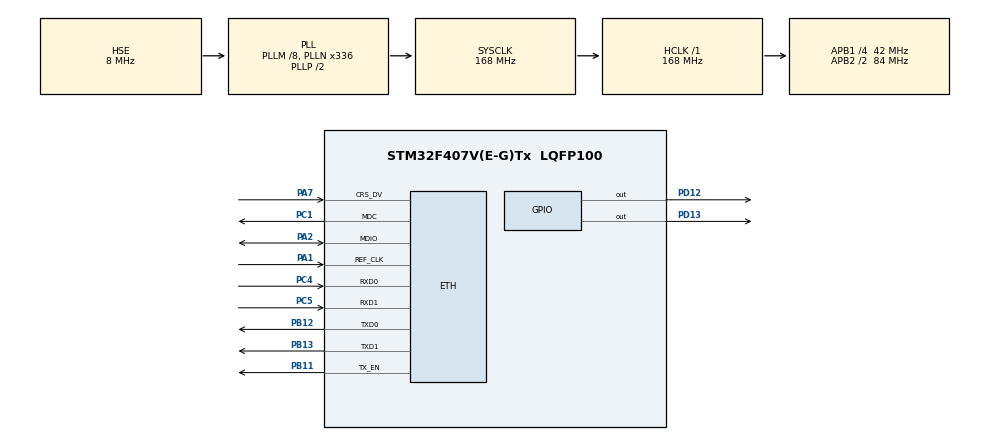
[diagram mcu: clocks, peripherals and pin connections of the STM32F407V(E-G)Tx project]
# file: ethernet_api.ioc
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ETH.MACAddr=00\:80\:E1\:DF\:B0\:C2
ETH.MediaInterface=HAL_ETH_RMII_MODE
ETH.PHY_Name_RMII=DP83848_PHY_ADDRESS
LWIP.BSP.number=1
LWIP.GATEWAY_ADDRESS=192.168.001.111
LWIP.IP_ADDRESS=192.168.001.111
LWIP.LWIP_DHCP=0
LWIP.NETMASK_ADDRESS=255.255.255.000
LWIP.Version=v2.1.2_Cube
LWIP0.BSP.STBoard=false
LWIP0.BSP.api=BSP_COMPONENT_DRIVER
LWIP0.BSP.component=DP83848
LWIP0.BSP.instance=DP83848
LWIP0.BSP.name=Driver_PHY
LWIP0.BSP.semaphore=S_DP83848
LWIP0.BSP.solution=DP83848
Mcu.Family=STM32F4
Mcu.Name=STM32F407V(E-G)Tx
Mcu.Package=LQFP100
NVIC.ETH_IRQn=true\:0\:0\:false\:false\:true\:true\:true\:true
NVIC.PriorityGroup=NVIC_PRIORITYGROUP_0
NVIC.TIM1_UP_TIM10_IRQn=true\:0\:0\:false\:false\:true\:true\:true\:true
PA1.Mode=RMII
PA1.Signal=ETH_REF_CLK
PA2.Mode=RMII
PA2.Signal=ETH_MDIO
PA7.Mode=RMII
PA7.Signal=ETH_CRS_DV
PB11.Mode=RMII
PB11.Signal=ETH_TX_EN
PB12.Mode=RMII
PB12.Signal=ETH_TXD0
PB13.Mode=RMII
PB13.Signal=ETH_TXD1
PC1.Mode=RMII
PC1.Signal=ETH_MDC
PC4.Mode=RMII
PC4.Signal=ETH_RXD0
PC5.Mode=RMII
PC5.Signal=ETH_RXD1
PD12.Signal=GPIO_Output
PD13.Signal=GPIO_Output
PH0-OSC_IN.Mode=HSE-External-Oscillator
PH0-OSC_IN.Signal=RCC_OSC_IN
PH1-OSC_OUT.Mode=HSE-External-Oscillator
PH1-OSC_OUT.Signal=RCC_OSC_OUT
ProjectManager.HeapSize=0x200
ProjectManager.StackSize=0x400
ProjectManager.TargetToolchain=STM32CubeIDE
RCC.48MHZClocksFreq_Value=48000000
RCC.AHBFreq_Value=168000000
RCC.APB1CLKDivider=RCC_HCLK_DIV4
RCC.APB1Freq_Value=42000000
RCC.APB1TimFreq_Value=84000000
RCC.APB2CLKDivider=RCC_HCLK_DIV2
RCC.APB2Freq_Value=84000000
RCC.APB2TimFreq_Value=168000000
RCC.CortexFreq_Value=168000000
RCC.HCLKFreq_Value=168000000
RCC.HSE_VALUE=8000000
RCC.HSI_VALUE=16000000
RCC.LSE_VALUE=32768
RCC.PLLM=8
RCC.PLLN=336
RCC.PLLQ=7
RCC.PLLSourceVirtual=RCC_PLLSOURCE_HSE
RCC.SYSCLKFreq_VALUE=168000000
RCC.SYSCLKSource=RCC_SYSCLKSOURCE_PLLCLK
RCC.VCOOutputFreq_Value=336000000
TIM1.Period=10000-1
TIM1.Prescaler=8400-1
VP_LWIP_VS_Enabled.Mode=Enabled
VP_TIM1_VS_ClockSourceINT.Mode=Internal
board=STM32F407G-DISC1

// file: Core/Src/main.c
/* USER CODE BEGIN Header */
/**
  ******************************************************************************
  * @file           : main.c
  * @brief          : Main program body
  ******************************************************************************
  * @attention
  *
  * Copyright (c) 2022 STMicroelectronics.
  * All rights reserved.
  *
  * This software is licensed under terms that can be found in the LICENSE file
  * in the root directory of this software component.
  * If no LICENSE file comes with this software, it is provided AS-IS.
  *
  ******************************************************************************
  */
/* USER CODE END Header */
#include "main.h"
#include "lwip.h"
#include "lwip/pbuf.h"
#include "lwip/udp.h"
#include "lwip/tcp.h"
#include "lwip/icmp.h"
#include "lwip/raw.h"
#include <string.h>
#include <stdio.h>

TIM_HandleTypeDef htim1;

void SystemClock_Config(void);
static void MX_GPIO_Init(void);
static void MX_TIM1_Init(void);
/* USER CODE BEGIN PFP */
void udpclient_connect();
void udp_receive_callback(void *arg, struct udp_pcb *upcb, struct pbuf *p, const ip_addr_t *addr, u16_t port);
void udpClient_send();
void HAL_TIM_PeriodElapsedCallback(TIM_HandleTypeDef *htim);
void ping_send_now();
static void ping_send(struct raw_pcb *raw, ip_addr_t *addr);
static void ping_prepare_echo( struct icmp_echo_hdr *iecho, u16_t len);

/* USER CODE END PFP */

/* USER CODE BEGIN 0 */

uint8_t inarray[1];
uint8_t datareceiveflag[4][1];
uint8_t opcode=0;
uint8_t counter=0;
struct udp_pcb* upcb;
char buffer[100];
char incoming_ip[15];
ip_addr_t  myIP,destIP;
static struct raw_pcb *ping_pcb;
u32_t ping_time;
u32_t ping_seq_num;

void udpClient_connect(){
	//err_t err;
	//upcb = udp_new();

	IP_ADDR4(&myIP,192,168,1,111);
	IP_ADDR4(&destIP,192,168,1,50);
	ping_send_now();
	/*
	udp_bind(upcb, &myIP, 8);
	err = udp_connect(upcb, &destIP,7);
	if(err == ERR_OK){
		udpClient_send();
		udp_recv(upcb, udp_receive_callback, NULL);
	}
	*/

}

void udpClient_send(){
	struct pbuf *txBuf;
	char data[100];
	int len = sprintf(data,"hello, received message count is %d \n",counter);
	txBuf = pbuf_alloc(PBUF_TRANSPORT, len, PBUF_RAM);

	if(txBuf != NULL){
		pbuf_take(txBuf,data,len);
		udp_send(upcb,txBuf);
		pbuf_free(txBuf);
	}

}

void udp_receive_callback(void *arg, struct udp_pcb *upcb, struct pbuf *p, const ip_addr_t *addr, u16_t port){

	sprintf(incoming_ip,"%s",ipaddr_ntoa(((const ip_addr_t *)&addr->addr)));
	strncpy (buffer, (char *)p->payload, p->len);
	counter++;
	pbuf_free(p);
}

void HAL_TIM_PeriodElapsedCallback(TIM_HandleTypeDef *htim)
{
	udpClient_send();
}

void ping_send_now()
{
  ip_addr_t ping_target = destIP;
  LWIP_ASSERT("ping_pcb != NULL", ping_pcb != NULL);
  ping_send(ping_pcb, &ping_target);
}

static void ping_send(struct raw_pcb *raw, ip_addr_t *addr)
{
  struct pbuf *p;
  struct icmp_echo_hdr *iecho;
  size_t ping_size = sizeof(struct icmp_echo_hdr) + 32;

  LWIP_DEBUGF( PING_DEBUG, ("ping: send "));
  ip_addr_debug_print(PING_DEBUG, addr);
  LWIP_DEBUGF( PING_DEBUG, ("\n"));
  LWIP_ASSERT("ping_size <= 0xffff", ping_size <= 0xffff);

  p = pbuf_alloc(PBUF_IP, (u16_t)ping_size, PBUF_RAM);
  if (!p) {
    return;
  }
  if ((p->len == p->tot_len) && (p->next == NULL)) {
    iecho = (struct icmp_echo_hdr *)p->payload;

    ping_prepare_echo(iecho, (u16_t)ping_size);

    raw_sendto(raw, p, addr);
    ping_time = sys_now();
  }
  pbuf_free(p);
}

static void ping_prepare_echo( struct icmp_echo_hdr *iecho, u16_t len)
{
  size_t i;
  size_t data_len = len - sizeof(struct icmp_echo_hdr);

  ICMPH_TYPE_SET(iecho, ICMP_ECHO);
  ICMPH_CODE_SET(iecho, 0);
  iecho->chksum = 0;
  iecho->id     = 0xAFAF;
  iecho->seqno  = htons(++ping_seq_num);

  /* fill the additional data buffer with some data */
  for(i = 0; i < data_len; i++) {
    ((char*)iecho)[sizeof(struct icmp_echo_hdr) + i] = (char)i;
  }

  iecho->chksum = inet_chksum(iecho, len);
}

static void
ping_raw_init(void)
{
  ping_pcb = raw_new(IP_PROTO_ICMP);
  LWIP_ASSERT("ping_pcb != NULL", ping_pcb != NULL);

  raw_bind(ping_pcb, &myIP);
  sys_timeout(1000, 1000, ping_pcb);
}
/* USER CODE END 0 */

int main(void)
{

  /* MCU Configuration--------------------------------------------------------*/

  /* Reset of all peripherals, Initializes the Flash interface and the Systick. */
  HAL_Init();

  /* Configure the system clock */
  SystemClock_Config();

  /* Initialize all configured peripherals */
  MX_GPIO_Init();
  MX_LWIP_Init();
  MX_TIM1_Init();
  /* USER CODE BEGIN 2 */
  HAL_GPIO_TogglePin(GPIOD, GPIO_PIN_12);

  //udpClient_connect();
  IP_ADDR4(&destIP,192,168,1,50);
  IP_ADDR4(&myIP,192,168,1,111);
  ping_raw_init();
  HAL_GPIO_TogglePin(GPIOD, GPIO_PIN_13);
  //HAL_TIM_Base_Start_IT(&htim1);
  //HAL_UART_Transmit(&huart5, msg, 15, 1000);
  //HAL_UART_Receive_DMA(&huart5, inarray, 1);

  /* USER CODE END 2 */

  /* Infinite loop */
  while (1)
  {

    /* USER CODE BEGIN 3 */
	  MX_LWIP_Process();
	  ping_send_now(ping_pcb, &destIP);

  }
  /* USER CODE END 3 */
}

void SystemClock_Config(void)
{
  RCC_OscInitTypeDef RCC_OscInitStruct = {0};
  RCC_ClkInitTypeDef RCC_ClkInitStruct = {0};

  /** Configure the main internal regulator output voltage
  */
  __HAL_RCC_PWR_CLK_ENABLE();
  __HAL_PWR_VOLTAGESCALING_CONFIG(PWR_REGULATOR_VOLTAGE_SCALE1);

  /** Initializes the RCC Oscillators according to the specified parameters
  * in the RCC_OscInitTypeDef structure.
  */
  RCC_OscInitStruct.OscillatorType = RCC_OSCILLATORTYPE_HSE;
  RCC_OscInitStruct.HSEState = RCC_HSE_ON;
  RCC_OscInitStruct.PLL.PLLState = RCC_PLL_ON;
  RCC_OscInitStruct.PLL.PLLSource = RCC_PLLSOURCE_HSE;
  RCC_OscInitStruct.PLL.PLLM = 8;
  RCC_OscInitStruct.PLL.PLLN = 336;
  RCC_OscInitStruct.PLL.PLLP = RCC_PLLP_DIV2;
  RCC_OscInitStruct.PLL.PLLQ = 7;
  if (HAL_RCC_OscConfig(&RCC_OscInitStruct) != HAL_OK)
  {
    Error_Handler();
  }

  /** Initializes the CPU, AHB and APB buses clocks
  */
  RCC_ClkInitStruct.ClockType = RCC_CLOCKTYPE_HCLK|RCC_CLOCKTYPE_SYSCLK
                              |RCC_CLOCKTYPE_PCLK1|RCC_CLOCKTYPE_PCLK2;
  RCC_ClkInitStruct.SYSCLKSource = RCC_SYSCLKSOURCE_PLLCLK;
  RCC_ClkInitStruct.AHBCLKDivider = RCC_SYSCLK_DIV1;
  RCC_ClkInitStruct.APB1CLKDivider = RCC_HCLK_DIV4;
  RCC_ClkInitStruct.APB2CLKDivider = RCC_HCLK_DIV2;

  if (HAL_RCC_ClockConfig(&RCC_ClkInitStruct, FLASH_LATENCY_5) != HAL_OK)
  {
    Error_Handler();
  }
}

static void MX_TIM1_Init(void)
{

  TIM_ClockConfigTypeDef sClockSourceConfig = {0};
  TIM_MasterConfigTypeDef sMasterConfig = {0};

  htim1.Instance = TIM1;
  htim1.Init.Prescaler = 8400-1;
  htim1.Init.CounterMode = TIM_COUNTERMODE_UP;
  htim1.Init.Period = 10000-1;
  htim1.Init.ClockDivision = TIM_CLOCKDIVISION_DIV1;
  htim1.Init.RepetitionCounter = 0;
  htim1.Init.AutoReloadPreload = TIM_AUTORELOAD_PRELOAD_DISABLE;
  if (HAL_TIM_Base_Init(&htim1) != HAL_OK)
  {
    Error_Handler();
  }
  sClockSourceConfig.ClockSource = TIM_CLOCKSOURCE_INTERNAL;
  if (HAL_TIM_ConfigClockSource(&htim1, &sClockSourceConfig) != HAL_OK)
  {
    Error_Handler();
  }
  sMasterConfig.MasterOutputTrigger = TIM_TRGO_RESET;
  sMasterConfig.MasterSlaveMode = TIM_MASTERSLAVEMODE_DISABLE;
  if (HAL_TIMEx_MasterConfigSynchronization(&htim1, &sMasterConfig) != HAL_OK)
  {
    Error_Handler();
  }

}

static void MX_GPIO_Init(void)
{
  GPIO_InitTypeDef GPIO_InitStruct = {0};

  /* GPIO Ports Clock Enable */
  __HAL_RCC_GPIOH_CLK_ENABLE();
  __HAL_RCC_GPIOC_CLK_ENABLE();
  __HAL_RCC_GPIOA_CLK_ENABLE();
  __HAL_RCC_GPIOB_CLK_ENABLE();
  __HAL_RCC_GPIOD_CLK_ENABLE();

  /*Configure GPIO pin Output Level */
  HAL_GPIO_WritePin(GPIOD, GPIO_PIN_12|GPIO_PIN_13, GPIO_PIN_RESET);

  /*Configure GPIO pins : PD12 PD13 */
  GPIO_InitStruct.Pin = GPIO_PIN_12|GPIO_PIN_13;
  GPIO_InitStruct.Mode = GPIO_MODE_OUTPUT_PP;
  GPIO_InitStruct.Pull = GPIO_NOPULL;
  GPIO_InitStruct.Speed = GPIO_SPEED_FREQ_LOW;
  HAL_GPIO_Init(GPIOD, &GPIO_InitStruct);

}

void Error_Handler(void)
{
  __disable_irq();
  while (1)
  {
  }
}
